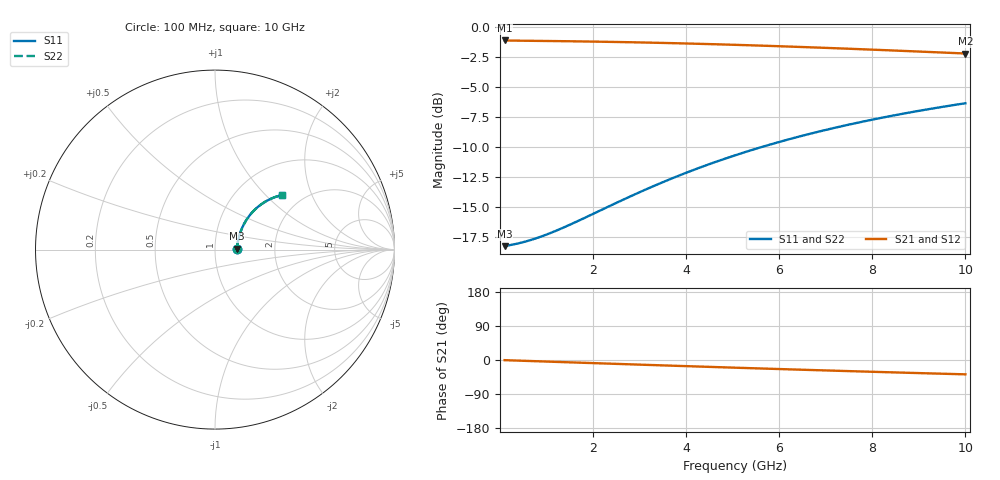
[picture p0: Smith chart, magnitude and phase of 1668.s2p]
# Hz S RI R 50.00
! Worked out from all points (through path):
!   100 points, 100 MHz to 10 GHz, reference 50 ohm
!   highest |S21| = -1.13 dB at 100 MHz (marker M1); lowest = -2.2 dB at 10 GHz (marker M2)
!   group delay of S21, straight-line fit = 10.6 ps
!   lowest |S11| = -18.3 dB at 100 MHz (marker M3), VSWR 1.28, Z = 63.8 + j0.601 ohm
!   |S11| at or under -10 dB: start of sweep to 5.642 GHz
!   |S22| runs from -18.3 to -6.4 dB; largest |S21 - S12| = 0
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1e8  0.1216 0.00464  0.8784 -0.00633  0.8784 -0.00633  0.1216 0.00464
3e8  0.1231 0.0139  0.8769 -0.0189  0.8769 -0.0189  0.1231 0.0139
5e8  0.1243 0.023  0.8756 -0.0315  0.8756 -0.0315  0.1243 0.023
7e8  0.1257 0.0322  0.8742 -0.044  0.8742 -0.044  0.1257 0.0322
9e8  0.1272 0.0412  0.8726 -0.0565  0.8726 -0.0565  0.1272 0.0412
1.1e9  0.129 0.0503  0.8708 -0.0689  0.8708 -0.0689  0.129 0.0503
1.3e9  0.1309 0.0592  0.8688 -0.0813  0.8688 -0.0813  0.1309 0.0592
1.8e9  0.1367 0.0813  0.8628 -0.1118  0.8628 -0.1118  0.1367 0.0813
2.7e9  0.1506 0.1195  0.8483 -0.1653  0.8483 -0.1653  0.1506 0.1195
3.4e9  0.1644 0.1475  0.8338 -0.2052  0.8338 -0.2052  0.1644 0.1475
3.8e9  0.1734 0.1627  0.8244 -0.2272  0.8244 -0.2272  0.1734 0.1627
4.2e9  0.1831 0.1772  0.8142 -0.2486  0.8142 -0.2486  0.1831 0.1772
4.6e9  0.1935 0.1911  0.8032 -0.2693  0.8032 -0.2693  0.1935 0.1911
5.1e9  0.2073 0.2075  0.7886 -0.2942  0.7886 -0.2942  0.2073 0.2075
5.5e9  0.2191 0.2197  0.7762 -0.3133  0.7762 -0.3133  0.2191 0.2197
5.9e9  0.2313 0.2312  0.7633 -0.3317  0.7633 -0.3317  0.2313 0.2312
6.3e9  0.244 0.2419  0.7499 -0.3493  0.7499 -0.3493  0.244 0.2419
6.7e9  0.257 0.2518  0.736 -0.3661  0.736 -0.3661  0.257 0.2518
7.5e9  0.284 0.2692  0.7072 -0.3973  0.7072 -0.3973  0.284 0.2692
8.4e9  0.3155 0.285  0.6735 -0.4288  0.6735 -0.4288  0.3155 0.285
9.2e9  0.3439 0.2957  0.6428 -0.4535  0.6428 -0.4535  0.3439 0.2957
1e10  0.3723 0.3035  0.6118 -0.4754  0.6118 -0.4754  0.3723 0.3035
